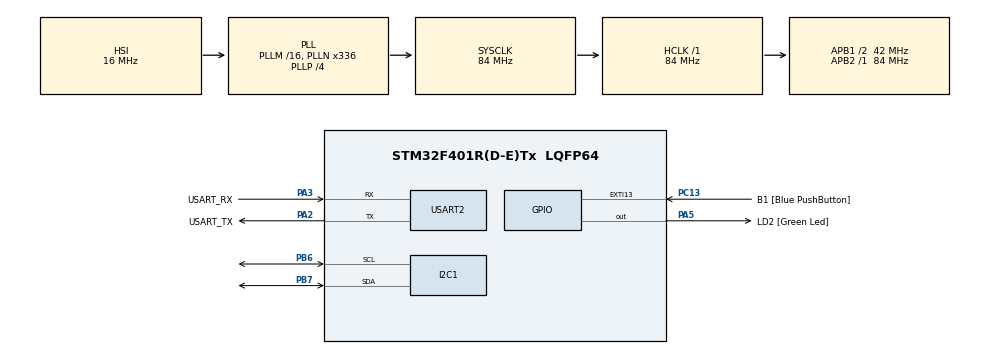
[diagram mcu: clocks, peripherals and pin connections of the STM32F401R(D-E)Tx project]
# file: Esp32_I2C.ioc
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I2C1.OwnAddress=0x10
Mcu.Family=STM32F4
Mcu.Name=STM32F401R(D-E)Tx
Mcu.Package=LQFP64
NVIC.I2C1_ER_IRQn=true\:0\:0\:false\:false\:true\:true\:true\:true
NVIC.I2C1_EV_IRQn=true\:0\:0\:false\:false\:true\:true\:true\:true
NVIC.PriorityGroup=NVIC_PRIORITYGROUP_4
PA13.GPIO_Label=TMS
PA13.Mode=Trace_Asynchronous_SW
PA13.Signal=SYS_JTMS-SWDIO
PA14.GPIO_Label=TCK
PA14.Mode=Trace_Asynchronous_SW
PA14.Signal=SYS_JTCK-SWCLK
PA2.GPIO_Label=USART_TX
PA2.GPIO_Mode=GPIO_MODE_AF_PP
PA2.GPIO_PuPd=GPIO_NOPULL
PA2.GPIO_Speed=GPIO_SPEED_FREQ_LOW
PA2.Mode=Asynchronous
PA2.Signal=USART2_TX
PA3.GPIO_Label=USART_RX
PA3.GPIO_Mode=GPIO_MODE_AF_PP
PA3.GPIO_PuPd=GPIO_NOPULL
PA3.GPIO_Speed=GPIO_SPEED_FREQ_LOW
PA3.Mode=Asynchronous
PA3.Signal=USART2_RX
PA5.GPIO_Label=LD2 [Green Led]
PA5.GPIO_Mode=GPIO_MODE_OUTPUT_PP
PA5.GPIO_PuPd=GPIO_NOPULL
PA5.GPIO_Speed=GPIO_SPEED_FREQ_LOW
PA5.Signal=GPIO_Output
PB3.GPIO_Label=SWO
PB3.Mode=Trace_Asynchronous_SW
PB3.Signal=SYS_JTDO-SWO
PB6.Mode=I2C
PB6.Signal=I2C1_SCL
PB7.Mode=I2C
PB7.Signal=I2C1_SDA
PC13-ANTI_TAMP.GPIO_Label=B1 [Blue PushButton]
PC13-ANTI_TAMP.GPIO_ModeDefaultEXTI=GPIO_MODE_IT_FALLING
PC13-ANTI_TAMP.GPIO_PuPd=GPIO_NOPULL
PC13-ANTI_TAMP.Signal=GPXTI13
PC14-OSC32_IN.Mode=LSE-External-Oscillator
PC14-OSC32_IN.Signal=RCC_OSC32_IN
PC15-OSC32_OUT.Mode=LSE-External-Oscillator
PC15-OSC32_OUT.Signal=RCC_OSC32_OUT
PH0\ -\ OSC_IN.Mode=HSE-External-Clock-Source
PH0\ -\ OSC_IN.Signal=RCC_OSC_IN
PH1\ -\ OSC_OUT.Mode=HSE-External-Clock-Source
PH1\ -\ OSC_OUT.Signal=RCC_OSC_OUT
ProjectManager.HeapSize=0x200
ProjectManager.StackSize=0x400
ProjectManager.TargetToolchain=STM32CubeIDE
RCC.48MHZClocksFreq_Value=48000000
RCC.AHBFreq_Value=84000000
RCC.APB1CLKDivider=RCC_HCLK_DIV2
RCC.APB1Freq_Value=42000000
RCC.APB1TimFreq_Value=84000000
RCC.APB2Freq_Value=84000000
RCC.APB2TimFreq_Value=84000000
RCC.CortexFreq_Value=84000000
RCC.HCLKFreq_Value=84000000
RCC.HSE_VALUE=8000000
RCC.HSI_VALUE=16000000
RCC.PLLN=336
RCC.PLLP=RCC_PLLP_DIV4
RCC.PLLQ=7
RCC.SYSCLKFreq_VALUE=84000000
RCC.SYSCLKSource=RCC_SYSCLKSOURCE_PLLCLK
RCC.VCOOutputFreq_Value=336000000
USART2.VirtualMode=VM_ASYNC
board=NUCLEO-F401RE

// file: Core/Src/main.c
/* USER CODE BEGIN Header */
/**
 ******************************************************************************
 * @file           : main.c
 * @brief          : Main program body
 ******************************************************************************
 * @attention
 *
 * Copyright (c) 2025 STMicroelectronics.
 * All rights reserved.
 *
 * This software is licensed under terms that can be found in the LICENSE file
 * in the root directory of this software component.
 * If no LICENSE file comes with this software, it is provided AS-IS.
 *
 ******************************************************************************
 */
/* USER CODE END Header */
#include "main.h"

/* USER CODE BEGIN Includes */
#include <stdio.h>
/* USER CODE END Includes */

/* USER CODE BEGIN PD */
#define I2C_SLAVE_ADDRESS 0x08

/* USER CODE END PD */

I2C_HandleTypeDef hi2c1;

UART_HandleTypeDef huart2;

/* USER CODE BEGIN PV */
uint8_t rxbuff[10];
volatile uint8_t dataReceived = 0;  // Add this flag to track new data
int32_t lx, ly, rx, ry, cro, squ, tri, cir, up, down, left, right, ll1, rr1,
		ll2, rr2, rL, rR;
typedef enum {
	STOP, FORWARD, BACKWARD, RIGHT, LEFT, CLOCKWISE, ANTICLOCKWISE
} MovementState;
/* USER CODE END PV */

void SystemClock_Config(void);
static void MX_GPIO_Init(void);
static void MX_USART2_UART_Init(void);
static void MX_I2C1_Init(void);

/* USER CODE BEGIN 0 */
void HAL_I2C_SlaveRxCpltCallback(I2C_HandleTypeDef *hi2c) {
	if (hi2c->Instance == I2C1) {
		// Set flag to indicate data received
		dataReceived = 1;
	}
}
/* USER CODE END 0 */

int main(void) {

	/* MCU Configuration--------------------------------------------------------*/

	/* Reset of all peripherals, Initializes the Flash interface and the Systick. */
	HAL_Init();

	/* Configure the system clock */
	SystemClock_Config();

	/* Initialize all configured peripherals */
	MX_GPIO_Init();
	MX_USART2_UART_Init();
	MX_I2C1_Init();
	/* USER CODE BEGIN 2 */
	HAL_I2C_Slave_Receive_IT(&hi2c1, rxbuff, 10);

	/* USER CODE END 2 */

	/* Infinite loop */
	while (1) {

		/* USER CODE BEGIN 3 */
		HAL_I2C_SlaveRxCpltCallback(&hi2c1);
		if (dataReceived) {
			lx = (rxbuff[0] & 0x80) ?
					(int32_t) rxbuff[0] - 256 : (int32_t) rxbuff[0];
			ly = (rxbuff[1] & 0x80) ?
					(int32_t) rxbuff[1] - 256 : (int32_t) rxbuff[1];
			rx = (rxbuff[2] & 0x80) ?
					(int32_t) rxbuff[2] - 256 : (int32_t) rxbuff[2];
			ry = (rxbuff[3] & 0x80) ?
					(int32_t) rxbuff[3] - 256 : (int32_t) rxbuff[3];
			tri = (rxbuff[4] & 0x80) ?
					(int32_t) rxbuff[4] - 256 : (int32_t) rxbuff[4];
			cir = (rxbuff[5] & 0x80) ?
					(int32_t) rxbuff[5] - 256 : (int32_t) rxbuff[5];
			cro = (rxbuff[6] & 0x80) ?
					(int32_t) rxbuff[6] - 256 : (int32_t) rxbuff[6];
			squ = (rxbuff[7] & 0x80) ?
					(int32_t) rxbuff[7] - 256 : (int32_t) rxbuff[7];
			ll2 = (rxbuff[8] & 0x80) ?
					(int32_t) rxbuff[8] - 256 : (int32_t) rxbuff[8];
			rr2 = (rxbuff[9] & 0x80) ?
					(int32_t) rxbuff[9] - 256 : (int32_t) rxbuff[9];

			printf(
					"Received Integers: %ld %ld %ld %ld %ld %ld %ld %ld %ld %ld\r\n",
					lx, ly, rx, ry, tri, cir, cro, squ, ll2, rr2);

			// Clear the flag after processing
			dataReceived = 0;
			HAL_I2C_Slave_Receive_IT(&hi2c1, rxbuff, 10);
		}

//		/* chassis */
//		uint16_t dutycycle;
//
//		dutycycle = 0;
//		MovementState current_state = STOP;
//		//motors stop
//		if (ly >= Buff2 && ly <= Buff1 && lx >= Buff2 && lx <= Buff1
//				&& rx >= Buff2 && rx <= Buff1) {
//
//			dutycycle = 0;
//
//			TIM12->CCR1 = dutycycle;
//			TIM10->CCR1 = dutycycle;
//			TIM11->CCR1 = dutycycle;
//			HAL_TIM_PWM_Start(&htim12, TIM_CHANNEL_1);
//			HAL_TIM_PWM_Start(&htim10, TIM_CHANNEL_1);
//			HAL_TIM_PWM_Start(&htim11, TIM_CHANNEL_1);
//
//		}
//
//		//	  	//forward
//
//		else if (ly >= Buff1 && (lx <= BuffP && lx >= BuffN))
//
//		{
//
//			dutycycle = map(ly, Buff1, 127, 0, fast);
//
//			TIM10->CCR1 = dutycycle;
//			TIM11->CCR1 = dutycycle;
//			HAL_TIM_PWM_Start(&htim10, TIM_CHANNEL_1);
//			HAL_TIM_PWM_Start(&htim11, TIM_CHANNEL_1);
//
//			//			HAL_GPIO_WritePin(GPIOC, GPIO_PIN_0, GPIO_PIN_RESET);
//
//			HAL_GPIO_WritePin(GPIOC, GPIO_PIN_1, GPIO_PIN_RESET);
//
//			HAL_GPIO_WritePin(GPIOC, GPIO_PIN_2, GPIO_PIN_SET);
//			current_state = FORWARD;
//			//			HAL_GPIO_WritePin(GPIOC, GPIO_PIN_3, GPIO_PIN_RESET);
//
//			//	   	HAL_Delay(1000);
//
//		}
//
//		// backward
//
//		else if (ly <= Buff2 && (lx <= BuffP && lx >= BuffN))
//
//		{
//
//			dutycycle = map(ly, -128, Buff2, fast, 0);
//
//			TIM10->CCR1 = dutycycle;
//			TIM11->CCR1 = dutycycle;
//			HAL_TIM_PWM_Start(&htim10, TIM_CHANNEL_1);
//			HAL_TIM_PWM_Start(&htim11, TIM_CHANNEL_1);
//
//			//			HAL_GPIO_WritePin(GPIOC, GPIO_PIN_0, GPIO_PIN_RESET);
//
//			HAL_GPIO_WritePin(GPIOC, GPIO_PIN_1, GPIO_PIN_SET);
//
//			HAL_GPIO_WritePin(GPIOC, GPIO_PIN_2, GPIO_PIN_RESET);
//
//			//			HAL_GPIO_WritePin(GPIOC, GPIO_PIN_3, GPIO_PIN_SET);
//			current_state = BACKWARD;
//			//	    HAL_Delay(1000);
//
//		}
//
//		//	right
//
//		else if (lx >= Buff1 && (ly <= BuffP && ly >= BuffN))
//
//		{
//
//			dutycycle = map(lx, Buff1, 127, 0, fast);
//
//			TIM12->CCR1 = dutycycle;
//			TIM10->CCR1 = cos30 * dutycycle;
//			TIM11->CCR1 = cos30 * dutycycle;
//			HAL_TIM_PWM_Start(&htim12, TIM_CHANNEL_1);
//			HAL_TIM_PWM_Start(&htim10, TIM_CHANNEL_1);
//			HAL_TIM_PWM_Start(&htim11, TIM_CHANNEL_1);
//
//			HAL_GPIO_WritePin(GPIOC, GPIO_PIN_0, GPIO_PIN_SET);
//
//			HAL_GPIO_WritePin(GPIOC, GPIO_PIN_1, GPIO_PIN_RESET);
//
//			HAL_GPIO_WritePin(GPIOC, GPIO_PIN_2, GPIO_PIN_RESET);
//
//			//			HAL_GPIO_WritePin(GPIOC, GPIO_PIN_3, GPIO_PIN_SET);
//			current_state = RIGHT;
//			//	    HAL_Delay(1000);
//
//		}
//
//		// left
//
//		else if (lx <= Buff2 && (ly <= BuffP && ly >= BuffN))
//
//		{
//
//			dutycycle = map(lx, -128, Buff2, fast, 0);
//
//			TIM12->CCR1 = dutycycle;
//			TIM10->CCR1 = cos30 * dutycycle;
//			TIM11->CCR1 = cos30 * dutycycle;
//			HAL_TIM_PWM_Start(&htim12, TIM_CHANNEL_1);
//			HAL_TIM_PWM_Start(&htim10, TIM_CHANNEL_1);
//			HAL_TIM_PWM_Start(&htim11, TIM_CHANNEL_1);
//
//			HAL_GPIO_WritePin(GPIOC, GPIO_PIN_0, GPIO_PIN_RESET);
//
//			HAL_GPIO_WritePin(GPIOC, GPIO_PIN_1, GPIO_PIN_SET);
//
//			HAL_GPIO_WritePin(GPIOC, GPIO_PIN_2, GPIO_PIN_SET);
//			current_state = LEFT;
//			//			HAL_GPIO_WritePin(GPIOC, GPIO_PIN_3, GPIO_PIN_RESET);
//
//		}
//
//		//clockwise
//
//		else if (rx >= Buff1 && (ry <= BuffP && ry >= BuffN)) {
//
//			dutycycle = map(rx, Buff1, 127, 0, 100);
//
//			TIM12->CCR1 = dutycycle;
//			TIM10->CCR1 = dutycycle;
//			TIM11->CCR1 = dutycycle;
//			HAL_TIM_PWM_Start(&htim12, TIM_CHANNEL_1);
//			HAL_TIM_PWM_Start(&htim10, TIM_CHANNEL_1);
//			HAL_TIM_PWM_Start(&htim11, TIM_CHANNEL_1);
//
//			HAL_GPIO_WritePin(GPIOC, GPIO_PIN_0, GPIO_PIN_RESET);
//
//			HAL_GPIO_WritePin(GPIOC, GPIO_PIN_1, GPIO_PIN_RESET);
//
//			HAL_GPIO_WritePin(GPIOC, GPIO_PIN_2, GPIO_PIN_RESET);
//			current_state = CLOCKWISE;
//			//			HAL_GPIO_WritePin(GPIOC, GPIO_PIN_3, GPIO_PIN_SET);
//
//		}
//
//		// anticlockwise
//
//		else if (rx <= Buff2 && (ry <= BuffP && ry >= BuffN)) {
//
//			dutycycle = map(rx, -128, Buff2, 100, 0);
//
//			TIM12->CCR1 = dutycycle;
//			TIM10->CCR1 = dutycycle;
//			TIM11->CCR1 = dutycycle;
//			HAL_TIM_PWM_Start(&htim12, TIM_CHANNEL_1);
//			HAL_TIM_PWM_Start(&htim10, TIM_CHANNEL_1);
//			HAL_TIM_PWM_Start(&htim11, TIM_CHANNEL_1);
//
//			HAL_GPIO_WritePin(GPIOC, GPIO_PIN_0, GPIO_PIN_SET);
//
//			HAL_GPIO_WritePin(GPIOC, GPIO_PIN_1, GPIO_PIN_SET);
//
//			HAL_GPIO_WritePin(GPIOC, GPIO_PIN_2, GPIO_PIN_SET);
//			current_state = ANTICLOCKWISE;
//
//			//			HAL_GPIO_WritePin(GPIOC, GPIO_PIN_3, GPIO_PIN_RESET);
//
//		}
	}
	/* USER CODE END 3 */
}

void SystemClock_Config(void) {
	RCC_OscInitTypeDef RCC_OscInitStruct = { 0 };
	RCC_ClkInitTypeDef RCC_ClkInitStruct = { 0 };

	/** Configure the main internal regulator output voltage
	 */
	__HAL_RCC_PWR_CLK_ENABLE();
	__HAL_PWR_VOLTAGESCALING_CONFIG(PWR_REGULATOR_VOLTAGE_SCALE2);

	/** Initializes the RCC Oscillators according to the specified parameters
	 * in the RCC_OscInitTypeDef structure.
	 */
	RCC_OscInitStruct.OscillatorType = RCC_OSCILLATORTYPE_HSI;
	RCC_OscInitStruct.HSIState = RCC_HSI_ON;
	RCC_OscInitStruct.HSICalibrationValue = RCC_HSICALIBRATION_DEFAULT;
	RCC_OscInitStruct.PLL.PLLState = RCC_PLL_ON;
	RCC_OscInitStruct.PLL.PLLSource = RCC_PLLSOURCE_HSI;
	RCC_OscInitStruct.PLL.PLLM = 16;
	RCC_OscInitStruct.PLL.PLLN = 336;
	RCC_OscInitStruct.PLL.PLLP = RCC_PLLP_DIV4;
	RCC_OscInitStruct.PLL.PLLQ = 7;
	if (HAL_RCC_OscConfig(&RCC_OscInitStruct) != HAL_OK) {
		Error_Handler();
	}

	/** Initializes the CPU, AHB and APB buses clocks
	 */
	RCC_ClkInitStruct.ClockType = RCC_CLOCKTYPE_HCLK | RCC_CLOCKTYPE_SYSCLK
			| RCC_CLOCKTYPE_PCLK1 | RCC_CLOCKTYPE_PCLK2;
	RCC_ClkInitStruct.SYSCLKSource = RCC_SYSCLKSOURCE_PLLCLK;
	RCC_ClkInitStruct.AHBCLKDivider = RCC_SYSCLK_DIV1;
	RCC_ClkInitStruct.APB1CLKDivider = RCC_HCLK_DIV2;
	RCC_ClkInitStruct.APB2CLKDivider = RCC_HCLK_DIV1;

	if (HAL_RCC_ClockConfig(&RCC_ClkInitStruct, FLASH_LATENCY_2) != HAL_OK) {
		Error_Handler();
	}
}

static void MX_I2C1_Init(void) {

	hi2c1.Instance = I2C1;
	hi2c1.Init.ClockSpeed = 100000;
	hi2c1.Init.DutyCycle = I2C_DUTYCYCLE_2;
	hi2c1.Init.OwnAddress1 = 32;
	hi2c1.Init.AddressingMode = I2C_ADDRESSINGMODE_7BIT;
	hi2c1.Init.DualAddressMode = I2C_DUALADDRESS_DISABLE;
	hi2c1.Init.OwnAddress2 = 0;
	hi2c1.Init.GeneralCallMode = I2C_GENERALCALL_DISABLE;
	hi2c1.Init.NoStretchMode = I2C_NOSTRETCH_DISABLE;
	if (HAL_I2C_Init(&hi2c1) != HAL_OK) {
		Error_Handler();
	}

}

static void MX_USART2_UART_Init(void) {

	huart2.Instance = USART2;
	huart2.Init.BaudRate = 115200;
	huart2.Init.WordLength = UART_WORDLENGTH_8B;
	huart2.Init.StopBits = UART_STOPBITS_1;
	huart2.Init.Parity = UART_PARITY_NONE;
	huart2.Init.Mode = UART_MODE_TX_RX;
	huart2.Init.HwFlowCtl = UART_HWCONTROL_NONE;
	huart2.Init.OverSampling = UART_OVERSAMPLING_16;
	if (HAL_UART_Init(&huart2) != HAL_OK) {
		Error_Handler();
	}

}

static void MX_GPIO_Init(void) {
	GPIO_InitTypeDef GPIO_InitStruct = { 0 };

	/* GPIO Ports Clock Enable */
	__HAL_RCC_GPIOC_CLK_ENABLE();
	__HAL_RCC_GPIOH_CLK_ENABLE();
	__HAL_RCC_GPIOA_CLK_ENABLE();
	__HAL_RCC_GPIOB_CLK_ENABLE();

	/*Configure GPIO pin Output Level */
	HAL_GPIO_WritePin(LD2_GPIO_Port, LD2_Pin, GPIO_PIN_RESET);

	/*Configure GPIO pin : B1_Pin */
	GPIO_InitStruct.Pin = B1_Pin;
	GPIO_InitStruct.Mode = GPIO_MODE_IT_FALLING;
	GPIO_InitStruct.Pull = GPIO_NOPULL;
	HAL_GPIO_Init(B1_GPIO_Port, &GPIO_InitStruct);

	/*Configure GPIO pin : LD2_Pin */
	GPIO_InitStruct.Pin = LD2_Pin;
	GPIO_InitStruct.Mode = GPIO_MODE_OUTPUT_PP;
	GPIO_InitStruct.Pull = GPIO_NOPULL;
	GPIO_InitStruct.Speed = GPIO_SPEED_FREQ_LOW;
	HAL_GPIO_Init(LD2_GPIO_Port, &GPIO_InitStruct);

}

/* USER CODE BEGIN 4 */
int _write(int file, char *ptr, int len) {
	HAL_UART_Transmit(&huart2, (uint8_t*) ptr, len, HAL_MAX_DELAY);
	return len;
}
/* USER CODE END 4 */

void Error_Handler(void) {
	__disable_irq();
	while (1) {
	}
}
